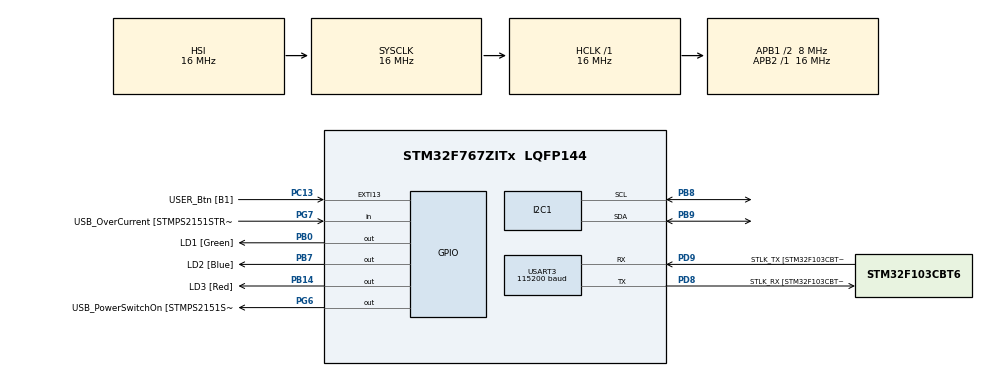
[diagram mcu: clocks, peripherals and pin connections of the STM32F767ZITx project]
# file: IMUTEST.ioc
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I2C1.Timing=0x2000090E
Mcu.Family=STM32F7
Mcu.Name=STM32F767ZITx
Mcu.Package=LQFP144
NVIC.PriorityGroup=NVIC_PRIORITYGROUP_4
PA1.GPIO_Label=RMII_REF_CLK [LAN8742A-CZ-TR_REFCLK0]
PA1.Signal=ETH_REF_CLK
PA10.GPIO_Label=USB_ID
PA10.Signal=USB_OTG_FS_ID
PA11.GPIO_Label=USB_DM
PA11.Signal=USB_OTG_FS_DM
PA12.GPIO_Label=USB_DP
PA12.Signal=USB_OTG_FS_DP
PA13.GPIO_Label=TMS
PA13.Signal=SYS_JTMS-SWDIO
PA14.GPIO_Label=TCK
PA14.Signal=SYS_JTCK-SWCLK
PA2.GPIO_Label=RMII_MDIO [LAN8742A-CZ-TR_MDIO]
PA2.Signal=ETH_MDIO
PA7.GPIO_Label=RMII_CRS_DV [LAN8742A-CZ-TR_CRS_DV]
PA7.Signal=ETH_CRS_DV
PA8.GPIO_Label=USB_SOF [TP1]
PA8.Signal=USB_OTG_FS_SOF
PA9.GPIO_Label=USB_VBUS
PA9.Signal=USB_OTG_FS_VBUS
PB0.GPIO_Label=LD1 [Green]
PB0.Signal=GPIO_Output
PB13.GPIO_Label=RMII_TXD1 [LAN8742A-CZ-TR_TXD1]
PB13.Signal=ETH_TXD1
PB14.GPIO_Label=LD3 [Red]
PB14.Signal=GPIO_Output
PB3.GPIO_Label=SW0
PB3.Signal=SYS_JTDO-SWO
PB7.GPIO_Label=LD2 [Blue]
PB7.Signal=GPIO_Output
PB8.Mode=I2C
PB8.Signal=I2C1_SCL
PB9.Mode=I2C
PB9.Signal=I2C1_SDA
PC1.GPIO_Label=RMII_MDC [LAN8742A-CZ-TR_MDC]
PC1.Signal=ETH_MDC
PC13.GPIO_Label=USER_Btn [B1]
PC13.Signal=GPXTI13
PC14/OSC32_IN.Signal=RCC_OSC32_IN
PC15/OSC32_OUT.Signal=RCC_OSC32_OUT
PC4.GPIO_Label=RMII_RXD0 [LAN8742A-CZ-TR_RXD0]
PC4.Signal=ETH_RXD0
PC5.GPIO_Label=RMII_RXD1 [LAN8742A-CZ-TR_RXD1]
PC5.Signal=ETH_RXD1
PD8.GPIO_Label=STLK_RX [STM32F103CBT6_PA3]
PD8.Mode=Asynchronous
PD8.Signal=USART3_TX
PD9.GPIO_Label=STLK_TX [STM32F103CBT6_PA2]
PD9.Mode=Asynchronous
PD9.Signal=USART3_RX
PG11.GPIO_Label=RMII_TX_EN [LAN8742A-CZ-TR_TXEN]
PG11.Signal=ETH_TX_EN
PG13.GPIO_Label=RMII_TXD0 [LAN8742A-CZ-TR_TXD0]
PG13.Signal=ETH_TXD0
PG6.GPIO_Label=USB_PowerSwitchOn [STMPS2151STR_EN]
PG6.Signal=GPIO_Output
PG7.GPIO_Label=USB_OverCurrent [STMPS2151STR_FAULT]
PG7.Signal=GPIO_Input
PH0/OSC_IN.GPIO_Label=MCO [STM32F103CBT6_PA8]
PH0/OSC_IN.Signal=RCC_OSC_IN
PH1/OSC_OUT.Signal=RCC_OSC_OUT
ProjectManager.HeapSize=0x200
ProjectManager.StackSize=0x400
ProjectManager.TargetToolchain=STM32CubeIDE
RCC.48MHZClocksFreq_Value=24000000
RCC.AHBFreq_Value=16000000
RCC.APB1CLKDivider=RCC_HCLK_DIV2
RCC.APB1Freq_Value=8000000
RCC.APB1TimFreq_Value=16000000
RCC.APB2Freq_Value=16000000
RCC.APB2TimFreq_Value=16000000
RCC.CortexFreq_Value=16000000
RCC.HCLKFreq_Value=16000000
RCC.HSE_VALUE=16000000
RCC.HSI_VALUE=16000000
RCC.LSE_VALUE=32768
RCC.PLLMUL=RCC_PLL_MUL9
RCC.PRESCALERUSB=RCC_USBCLKSOURCE_PLL_DIV1_5
RCC.SYSCLKFreq_VALUE=16000000
RCC.SYSCLKSourceVirtual=RCC_SYSCLKSOURCE_PLLCLK
RCC.USBFreq_Value=96000000
RCC.VCOOutputFreq_Value=192000000
USART3.BaudRate=115200
USART3.VirtualMode-Asynchronous=VM_ASYNC
board=NUCLEO-F767ZI

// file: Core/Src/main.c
/* USER CODE BEGIN Header */
/**
  ******************************************************************************
  * @file           : main.c
  * @brief          : Main program body
  ******************************************************************************
  * @attention
  *
  * Copyright (c) 2025 STMicroelectronics.
  * All rights reserved.
  *
  * This software is licensed under terms that can be found in the LICENSE file
  * in the root directory of this software component.
  * If no LICENSE file comes with this software, it is provided AS-IS.
  *
  ******************************************************************************
  */
/* USER CODE END Header */
#include "main.h"

/* USER CODE BEGIN Includes */
#include <stdio.h>
#include <string.h>
/* USER CODE END Includes */

/* USER CODE BEGIN PD */
/* ---- LSM6DS3 register map ---- */
#define LSM6DS3_WHO_AM_I     0x0F
#define LSM6DS3_CTRL1_XL     0x10
#define LSM6DS3_CTRL2_G      0x11
#define LSM6DS3_CTRL3_C      0x12
#define LSM6DS3_OUTX_L_G     0x22  /* GxL,GxH,GyL,GyH,GzL,GzH */
#define LSM6DS3_OUTX_L_XL    0x28  /* AxL,AxH,AyL,AyH,AzL,AzH */

/* Expected IDs */
#define WHO_AM_I_DS3   0x69
#define WHO_AM_I_DSOX  0x6C  /* just in case user actually has DSOX */

/* 7-bit I2C addresses shifted left by 1 for HAL */
#define ADDR_6A              (0x6A << 1)   /* Adafruit default */
#define ADDR_6B              (0x6B << 1)
/* USER CODE END PD */

I2C_HandleTypeDef hi2c1;

UART_HandleTypeDef huart3;

/* USER CODE BEGIN PV */
static uint16_t lsm6_addr = ADDR_6A; /* Will be set by detect() */
/* USER CODE END PV */

void SystemClock_Config(void);
static void MX_GPIO_Init(void);
static void MX_I2C1_Init(void);
static void MX_USART3_UART_Init(void);
/* USER CODE BEGIN PFP */
/* printf -> USART3 */
int _write(int file, char *ptr, int len);

/* Helpers */
static HAL_StatusTypeDef i2c_write(uint16_t addr, uint8_t reg, uint8_t val);
static HAL_StatusTypeDef i2c_read(uint16_t addr, uint8_t reg, uint8_t *buf, uint16_t len);

static int  lsm6_detect(void);
static int  lsm6_init(void);
static void lsm6_read_raw(int16_t *gx, int16_t *gy, int16_t *gz,
                          int16_t *ax, int16_t *ay, int16_t *az);
static void lsm6_convert(int16_t gx, int16_t gy, int16_t gz,
                         int16_t ax, int16_t ay, int16_t az,
                         float *gx_dps, float *gy_dps, float *gz_dps,
                         float *ax_g, float *ay_g, float *az_g);
/* USER CODE END PFP */

/* USER CODE BEGIN 0 */

/* Route printf() to USART3 so text shows on the ST-LINK Virtual COM port */
int _write(int file, char *ptr, int len) {
  HAL_UART_Transmit(&huart3, (uint8_t*)ptr, len, HAL_MAX_DELAY);
  return len;
}

/* I2C helpers */
static HAL_StatusTypeDef i2c_write(uint16_t addr, uint8_t reg, uint8_t val) {
  return HAL_I2C_Mem_Write(&hi2c1, addr, reg, I2C_MEMADD_SIZE_8BIT, &val, 1, 100);
}
static HAL_StatusTypeDef i2c_read(uint16_t addr, uint8_t reg, uint8_t *buf, uint16_t len) {
  return HAL_I2C_Mem_Read(&hi2c1, addr, reg, I2C_MEMADD_SIZE_8BIT, buf, len, 100);
}

/* Try Adafruit default 0x6A first, then 0x6B. Accept DS3 (0x69) and also report DSOX (0x6C). */
static int lsm6_detect(void) {
  uint8_t id = 0;

  if (i2c_read(ADDR_6A, LSM6DS3_WHO_AM_I, &id, 1) == HAL_OK) {
    printf("WHO_AM_I @0x6A = 0x%02X\r\n", id);
    if (id == 0x69 || id == 0x6A || id == 0x6C) { lsm6_addr = ADDR_6A; return 0; }
  }
  if (i2c_read(ADDR_6B, LSM6DS3_WHO_AM_I, &id, 1) == HAL_OK) {
    printf("WHO_AM_I @0x6B = 0x%02X\r\n", id);
    if (id == 0x69 || id == 0x6A || id == 0x6C) { lsm6_addr = ADDR_6B; return 0; }
  }
  return -1;
}

/* Configure: BDU+auto-increment, accel 104Hz ±4g, gyro 104Hz 2000dps */
static int lsm6_init(void) {
  /* CTRL3_C: BDU=1 (bit6), IF_INC=1 (bit2) => 0x44 */
  if (i2c_write(lsm6_addr, LSM6DS3_CTRL3_C, 0x44) != HAL_OK) return -1;

  /* CTRL1_XL: ODR=104Hz (0100<<4), FS=±4g (10<<2), BW=00 => 0x48 */
  if (i2c_write(lsm6_addr, LSM6DS3_CTRL1_XL, 0x48) != HAL_OK) return -1;

  /* CTRL2_G:  ODR=104Hz (0100<<4), FS=2000dps (11<<2) => 0x4C */
  if (i2c_write(lsm6_addr, LSM6DS3_CTRL2_G, 0x4C) != HAL_OK) return -1;

  return 0;
}

static void lsm6_read_raw(int16_t *gx, int16_t *gy, int16_t *gz,
                          int16_t *ax, int16_t *ay, int16_t *az) {
  uint8_t buf[6];

  if (i2c_read(lsm6_addr, LSM6DS3_OUTX_L_G, buf, 6) == HAL_OK) {
    *gx = (int16_t)((buf[1] << 8) | buf[0]);
    *gy = (int16_t)((buf[3] << 8) | buf[2]);
    *gz = (int16_t)((buf[5] << 8) | buf[4]);
  } else {
    *gx = *gy = *gz = 0;
  }

  if (i2c_read(lsm6_addr, LSM6DS3_OUTX_L_XL, buf, 6) == HAL_OK) {
    *ax = (int16_t)((buf[1] << 8) | buf[0]);
    *ay = (int16_t)((buf[3] << 8) | buf[2]);
    *az = (int16_t)((buf[5] << 8) | buf[4]);
  } else {
    *ax = *ay = *az = 0;
  }
}

static void lsm6_convert(int16_t gx, int16_t gy, int16_t gz,
                         int16_t ax, int16_t ay, int16_t az,
                         float *gx_dps, float *gy_dps, float *gz_dps,
                         float *ax_g, float *ay_g, float *az_g) {
  /* Sensitivities:
     Gyro 2000 dps: 0.07 dps/LSB
     Accel ±4 g:    0.122 mg/LSB = 0.000122 g/LSB */
  *gx_dps = gx * 0.07f;
  *gy_dps = gy * 0.07f;
  *gz_dps = gz * 0.07f;

  *ax_g = ax * 0.000122f;
  *ay_g = ay * 0.000122f;
  *az_g = az * 0.000122f;
}
/* USER CODE END 0 */

int main(void)
{

  /* MCU Configuration--------------------------------------------------------*/

  /* Reset of all peripherals, Initializes the Flash interface and the Systick. */
  HAL_Init();

  /* Configure the system clock */
  SystemClock_Config();

  /* Initialize all configured peripherals */
  MX_GPIO_Init();
  MX_I2C1_Init();
  MX_USART3_UART_Init();
  /* USER CODE BEGIN 2 */
  setbuf(stdout, NULL); /* unbuffered printf */

  if (lsm6_detect() != 0) { while (1) { HAL_Delay(500); } }
    if (lsm6_init()   != 0) { while (1) { HAL_Delay(500); } }
  /* USER CODE END 2 */

  /* Infinite loop */
  while (1)
  {

    /* USER CODE BEGIN 3 */
    int16_t gx, gy, gz, ax, ay, az;
    float gx_dps, gy_dps, gz_dps, ax_g, ay_g, az_g;

    lsm6_read_raw(&gx, &gy, &gz, &ax, &ay, &az);
    lsm6_convert(gx, gy, gz, ax, ay, az,
                 &gx_dps, &gy_dps, &gz_dps, &ax_g, &ay_g, &az_g);

    printf("G[dps]: %6.1f %6.1f %6.1f | A[g]: %6.3f %6.3f %6.3f\r\n",
           gx_dps, gy_dps, gz_dps, ax_g, ay_g, az_g);

    HAL_Delay(100); /* ~10 Hz print rate */
  }
  /* USER CODE END 3 */
}

void SystemClock_Config(void)
{
  RCC_OscInitTypeDef RCC_OscInitStruct = {0};
  RCC_ClkInitTypeDef RCC_ClkInitStruct = {0};

  /** Configure the main internal regulator output voltage
  */
  __HAL_RCC_PWR_CLK_ENABLE();
  __HAL_PWR_VOLTAGESCALING_CONFIG(PWR_REGULATOR_VOLTAGE_SCALE3);

  /** Initializes the RCC Oscillators according to the specified parameters
  * in the RCC_OscInitTypeDef structure.
  */
  RCC_OscInitStruct.OscillatorType = RCC_OSCILLATORTYPE_HSI;
  RCC_OscInitStruct.HSIState = RCC_HSI_ON;
  RCC_OscInitStruct.HSICalibrationValue = RCC_HSICALIBRATION_DEFAULT;
  RCC_OscInitStruct.PLL.PLLState = RCC_PLL_NONE;
  if (HAL_RCC_OscConfig(&RCC_OscInitStruct) != HAL_OK)
  {
    Error_Handler();
  }

  /** Initializes the CPU, AHB and APB buses clocks
  */
  RCC_ClkInitStruct.ClockType = RCC_CLOCKTYPE_HCLK|RCC_CLOCKTYPE_SYSCLK
                              |RCC_CLOCKTYPE_PCLK1|RCC_CLOCKTYPE_PCLK2;
  RCC_ClkInitStruct.SYSCLKSource = RCC_SYSCLKSOURCE_HSI;
  RCC_ClkInitStruct.AHBCLKDivider = RCC_SYSCLK_DIV1;
  RCC_ClkInitStruct.APB1CLKDivider = RCC_HCLK_DIV2;
  RCC_ClkInitStruct.APB2CLKDivider = RCC_HCLK_DIV1;

  if (HAL_RCC_ClockConfig(&RCC_ClkInitStruct, FLASH_LATENCY_0) != HAL_OK)
  {
    Error_Handler();
  }
}

static void MX_I2C1_Init(void)
{

  hi2c1.Instance = I2C1;
  hi2c1.Init.Timing = 0x2000090E;
  hi2c1.Init.OwnAddress1 = 0;
  hi2c1.Init.AddressingMode = I2C_ADDRESSINGMODE_7BIT;
  hi2c1.Init.DualAddressMode = I2C_DUALADDRESS_DISABLE;
  hi2c1.Init.OwnAddress2 = 0;
  hi2c1.Init.OwnAddress2Masks = I2C_OA2_NOMASK;
  hi2c1.Init.GeneralCallMode = I2C_GENERALCALL_DISABLE;
  hi2c1.Init.NoStretchMode = I2C_NOSTRETCH_DISABLE;
  if (HAL_I2C_Init(&hi2c1) != HAL_OK)
  {
    Error_Handler();
  }

  /** Configure Analogue filter
  */
  if (HAL_I2CEx_ConfigAnalogFilter(&hi2c1, I2C_ANALOGFILTER_ENABLE) != HAL_OK)
  {
    Error_Handler();
  }

  /** Configure Digital filter
  */
  if (HAL_I2CEx_ConfigDigitalFilter(&hi2c1, 0) != HAL_OK)
  {
    Error_Handler();
  }

}

static void MX_USART3_UART_Init(void)
{

  huart3.Instance = USART3;
  huart3.Init.BaudRate = 115200;
  huart3.Init.WordLength = UART_WORDLENGTH_8B;
  huart3.Init.StopBits = UART_STOPBITS_1;
  huart3.Init.Parity = UART_PARITY_NONE;
  huart3.Init.Mode = UART_MODE_TX_RX;
  huart3.Init.HwFlowCtl = UART_HWCONTROL_NONE;
  huart3.Init.OverSampling = UART_OVERSAMPLING_16;
  huart3.Init.OneBitSampling = UART_ONE_BIT_SAMPLE_DISABLE;
  huart3.AdvancedInit.AdvFeatureInit = UART_ADVFEATURE_NO_INIT;
  if (HAL_UART_Init(&huart3) != HAL_OK)
  {
    Error_Handler();
  }

}

static void MX_GPIO_Init(void)
{
  GPIO_InitTypeDef GPIO_InitStruct = {0};

  /* GPIO Ports Clock Enable */
  __HAL_RCC_GPIOC_CLK_ENABLE();
  __HAL_RCC_GPIOH_CLK_ENABLE();
  __HAL_RCC_GPIOA_CLK_ENABLE();
  __HAL_RCC_GPIOB_CLK_ENABLE();
  __HAL_RCC_GPIOD_CLK_ENABLE();
  __HAL_RCC_GPIOG_CLK_ENABLE();

  /*Configure GPIO pin Output Level */
  HAL_GPIO_WritePin(GPIOB, LD1_Pin|LD3_Pin|LD2_Pin, GPIO_PIN_RESET);

  /*Configure GPIO pin Output Level */
  HAL_GPIO_WritePin(USB_PowerSwitchOn_GPIO_Port, USB_PowerSwitchOn_Pin, GPIO_PIN_RESET);

  /*Configure GPIO pin : USER_Btn_Pin */
  GPIO_InitStruct.Pin = USER_Btn_Pin;
  GPIO_InitStruct.Mode = GPIO_MODE_IT_RISING;
  GPIO_InitStruct.Pull = GPIO_NOPULL;
  HAL_GPIO_Init(USER_Btn_GPIO_Port, &GPIO_InitStruct);

  /*Configure GPIO pins : RMII_MDC_Pin RMII_RXD0_Pin RMII_RXD1_Pin */
  GPIO_InitStruct.Pin = RMII_MDC_Pin|RMII_RXD0_Pin|RMII_RXD1_Pin;
  GPIO_InitStruct.Mode = GPIO_MODE_AF_PP;
  GPIO_InitStruct.Pull = GPIO_NOPULL;
  GPIO_InitStruct.Speed = GPIO_SPEED_FREQ_VERY_HIGH;
  GPIO_InitStruct.Alternate = GPIO_AF11_ETH;
  HAL_GPIO_Init(GPIOC, &GPIO_InitStruct);

  /*Configure GPIO pins : RMII_REF_CLK_Pin RMII_MDIO_Pin RMII_CRS_DV_Pin */
  GPIO_InitStruct.Pin = RMII_REF_CLK_Pin|RMII_MDIO_Pin|RMII_CRS_DV_Pin;
  GPIO_InitStruct.Mode = GPIO_MODE_AF_PP;
  GPIO_InitStruct.Pull = GPIO_NOPULL;
  GPIO_InitStruct.Speed = GPIO_SPEED_FREQ_VERY_HIGH;
  GPIO_InitStruct.Alternate = GPIO_AF11_ETH;
  HAL_GPIO_Init(GPIOA, &GPIO_InitStruct);

  /*Configure GPIO pins : LD1_Pin LD3_Pin LD2_Pin */
  GPIO_InitStruct.Pin = LD1_Pin|LD3_Pin|LD2_Pin;
  GPIO_InitStruct.Mode = GPIO_MODE_OUTPUT_PP;
  GPIO_InitStruct.Pull = GPIO_NOPULL;
  GPIO_InitStruct.Speed = GPIO_SPEED_FREQ_LOW;
  HAL_GPIO_Init(GPIOB, &GPIO_InitStruct);

  /*Configure GPIO pin : RMII_TXD1_Pin */
  GPIO_InitStruct.Pin = RMII_TXD1_Pin;
  GPIO_InitStruct.Mode = GPIO_MODE_AF_PP;
  GPIO_InitStruct.Pull = GPIO_NOPULL;
  GPIO_InitStruct.Speed = GPIO_SPEED_FREQ_VERY_HIGH;
  GPIO_InitStruct.Alternate = GPIO_AF11_ETH;
  HAL_GPIO_Init(RMII_TXD1_GPIO_Port, &GPIO_InitStruct);

  /*Configure GPIO pin : USB_PowerSwitchOn_Pin */
  GPIO_InitStruct.Pin = USB_PowerSwitchOn_Pin;
  GPIO_InitStruct.Mode = GPIO_MODE_OUTPUT_PP;
  GPIO_InitStruct.Pull = GPIO_NOPULL;
  GPIO_InitStruct.Speed = GPIO_SPEED_FREQ_LOW;
  HAL_GPIO_Init(USB_PowerSwitchOn_GPIO_Port, &GPIO_InitStruct);

  /*Configure GPIO pin : USB_OverCurrent_Pin */
  GPIO_InitStruct.Pin = USB_OverCurrent_Pin;
  GPIO_InitStruct.Mode = GPIO_MODE_INPUT;
  GPIO_InitStruct.Pull = GPIO_NOPULL;
  HAL_GPIO_Init(USB_OverCurrent_GPIO_Port, &GPIO_InitStruct);

  /*Configure GPIO pins : USB_SOF_Pin USB_ID_Pin USB_DM_Pin USB_DP_Pin */
  GPIO_InitStruct.Pin = USB_SOF_Pin|USB_ID_Pin|USB_DM_Pin|USB_DP_Pin;
  GPIO_InitStruct.Mode = GPIO_MODE_AF_PP;
  GPIO_InitStruct.Pull = GPIO_NOPULL;
  GPIO_InitStruct.Speed = GPIO_SPEED_FREQ_VERY_HIGH;
  GPIO_InitStruct.Alternate = GPIO_AF10_OTG_FS;
  HAL_GPIO_Init(GPIOA, &GPIO_InitStruct);

  /*Configure GPIO pin : USB_VBUS_Pin */
  GPIO_InitStruct.Pin = USB_VBUS_Pin;
  GPIO_InitStruct.Mode = GPIO_MODE_INPUT;
  GPIO_InitStruct.Pull = GPIO_NOPULL;
  HAL_GPIO_Init(USB_VBUS_GPIO_Port, &GPIO_InitStruct);

  /*Configure GPIO pins : RMII_TX_EN_Pin RMII_TXD0_Pin */
  GPIO_InitStruct.Pin = RMII_TX_EN_Pin|RMII_TXD0_Pin;
  GPIO_InitStruct.Mode = GPIO_MODE_AF_PP;
  GPIO_InitStruct.Pull = GPIO_NOPULL;
  GPIO_InitStruct.Speed = GPIO_SPEED_FREQ_VERY_HIGH;
  GPIO_InitStruct.Alternate = GPIO_AF11_ETH;
  HAL_GPIO_Init(GPIOG, &GPIO_InitStruct);

}

void Error_Handler(void)
{
  __disable_irq();
  while (1)
  {
  }
}
